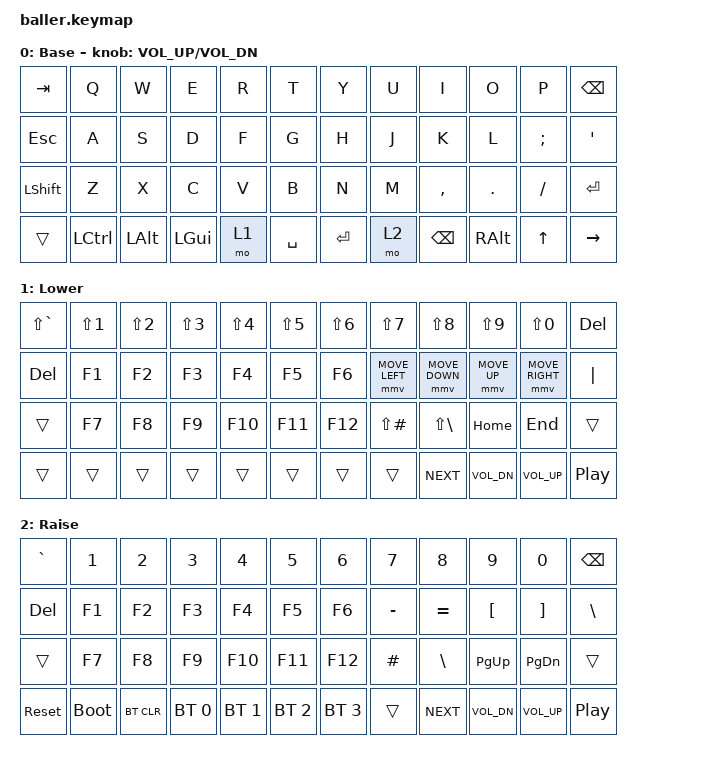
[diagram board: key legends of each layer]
/*
 * Copyright (c) 2020 The ZMK Contributors
 *
 * SPDX-License-Identifier: MIT
 */

#include <behaviors.dtsi>
#include <dt-bindings/zmk/keys.h>
#include <dt-bindings/zmk/bt.h>
#include <dt-bindings/zmk/pointing.h>

/* Uncomment this block if using an encoder */
//&encoder {
//    status = "okay";
//};

/ {
    keymap {
        compatible = "zmk,keymap";

        default_layer {
            display-name = "Base";
            // -----------------------------------------------------------------------------------------
            // |  TAB  |  Q   |  W   |  E   |  R   |  T   |   Y   |  U    |  I   |  O   |   P   | BSPC  |
            // |  ESC  |  A   |  S   |  D   |  F   |  G   |   H   |  J    |  K   |  L   |   ;   |  '    |
            // | SHIFT |  Z   |  X   |  C   |  V   |  B   |   N   |  M    |  ,   |  .   |   /   |  RET  |
            // |  ---  | LCTRL | LALT | LGUI | LOWR | SPACE |  RET  | RAIS | BSPC | RALT |  UP  | RIGHT |
            bindings = <
                &kp TAB   &kp Q     &kp W    &kp E    &kp R   &kp T      &kp Y     &kp U   &kp I     &kp O    &kp P     &kp BSPC
                &kp ESC   &kp A     &kp S    &kp D    &kp F   &kp G      &kp H     &kp J   &kp K     &kp L    &kp SEMI  &kp SQT
                &kp LSHFT &kp Z     &kp X    &kp C    &kp V   &kp B      &kp N     &kp M   &kp COMMA &kp DOT  &kp SLASH &kp RET
                &trans    &kp LCTRL &kp LALT &kp LGUI &mo 1   &kp SPACE  &kp RET   &mo 2   &kp BSPC  &kp RALT &kp UP    &kp RIGHT
            >;
            sensor-bindings = <&inc_dec_kp C_VOL_UP C_VOL_DN>;
        };

        lower {
            display-name = "Lower";
            bindings = <
                &kp LS(GRAVE) &kp LS(N1) &kp LS(N2) &kp LS(N3) &kp LS(N4) &kp LS(N5) &kp LS(N6) &kp LS(N7) &kp LS(N8) &kp LS(N9) &kp LS(N0) &kp DEL
                &kp DEL &kp F1 &kp F2 &kp F3 &kp F4 &kp F5 &kp F6 &mmv MOVE_LEFT &mmv MOVE_DOWN &mmv MOVE_UP &mmv MOVE_RIGHT &kp PIPE
                &trans &kp F7 &kp F8 &kp F9 &kp F10 &kp F11 &kp F12 &kp LS(HASH) &kp LS(BSLH) &kp HOME &kp END &trans
                &trans &trans &trans &trans &trans &trans &trans &trans &kp C_NEXT &kp C_VOL_DN &kp C_VOL_UP &kp C_PP
            >;
        };

        raise {
            display-name = "Raise";
            bindings = <
                &kp GRAVE &kp N1 &kp N2 &kp N3 &kp N4 &kp N5 &kp N6 &kp N7 &kp N8 &kp N9 &kp N0 &kp BSPC
                &kp DEL &kp F1 &kp F2 &kp F3 &kp F4 &kp F5 &kp F6 &kp MINUS &kp EQUAL &kp LBKT &kp RBKT &kp BSLH
                &trans &kp F7 &kp F8 &kp F9 &kp F10 &kp F11 &kp F12 &kp HASH &kp BSLH &kp PG_UP &kp PG_DN &trans
                &sys_reset &bootloader &bt BT_CLR &bt BT_SEL 0 &bt BT_SEL 1 &bt BT_SEL 2 &bt BT_SEL 3 &trans &kp C_NEXT &kp C_VOL_DN &kp C_VOL_UP &kp C_PP
            >;
        };
    };
};
